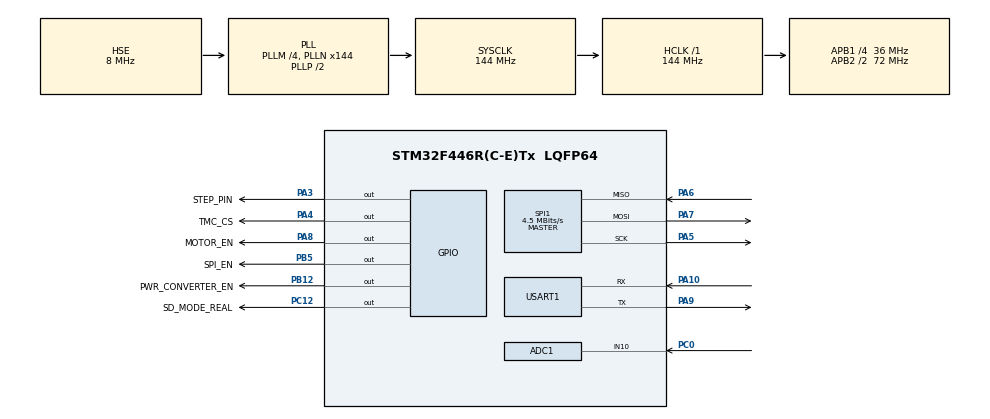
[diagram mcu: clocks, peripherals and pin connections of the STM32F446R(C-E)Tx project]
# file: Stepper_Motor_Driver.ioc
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ADC1.Channel-1\#ChannelRegularConversion=ADC_CHANNEL_10
ADC1.ClockPrescaler=ADC_CLOCK_SYNC_PCLK_DIV4
ADC1.NbrOfConversionFlag=1
ADC1.Rank-1\#ChannelRegularConversion=1
ADC1.SamplingTime-1\#ChannelRegularConversion=ADC_SAMPLETIME_56CYCLES
ADC1.master=1
Dma.Request0=SPI1_RX
Dma.Request1=SPI1_TX
Dma.SPI1_RX.0.Direction=DMA_PERIPH_TO_MEMORY
Dma.SPI1_RX.0.FIFOMode=DMA_FIFOMODE_DISABLE
Dma.SPI1_RX.0.Instance=DMA2_Stream0
Dma.SPI1_RX.0.MemDataAlignment=DMA_MDATAALIGN_BYTE
Dma.SPI1_RX.0.MemInc=DMA_MINC_ENABLE
Dma.SPI1_RX.0.Mode=DMA_NORMAL
Dma.SPI1_RX.0.PeriphDataAlignment=DMA_PDATAALIGN_BYTE
Dma.SPI1_RX.0.PeriphInc=DMA_PINC_DISABLE
Dma.SPI1_RX.0.Priority=DMA_PRIORITY_LOW
Dma.SPI1_TX.1.Direction=DMA_MEMORY_TO_PERIPH
Dma.SPI1_TX.1.FIFOMode=DMA_FIFOMODE_DISABLE
Dma.SPI1_TX.1.Instance=DMA2_Stream3
Dma.SPI1_TX.1.MemDataAlignment=DMA_MDATAALIGN_BYTE
Dma.SPI1_TX.1.MemInc=DMA_MINC_ENABLE
Dma.SPI1_TX.1.Mode=DMA_NORMAL
Dma.SPI1_TX.1.PeriphDataAlignment=DMA_PDATAALIGN_BYTE
Dma.SPI1_TX.1.PeriphInc=DMA_PINC_DISABLE
Dma.SPI1_TX.1.Priority=DMA_PRIORITY_LOW
FREERTOS.Tasks01=defaultTask,24,128,StartDefaultTask,Default,NULL,Dynamic,NULL,NULL
FREERTOS.configTOTAL_HEAP_SIZE=20480
FREERTOS.configUSE_NEWLIB_REENTRANT=1
Mcu.Family=STM32F4
Mcu.Name=STM32F446R(C-E)Tx
Mcu.Package=LQFP64
NVIC.DMA2_Stream0_IRQn=true\:5\:0\:false\:false\:true\:true\:false\:true\:true
NVIC.DMA2_Stream3_IRQn=true\:5\:0\:false\:false\:true\:true\:false\:true\:true
NVIC.PriorityGroup=NVIC_PRIORITYGROUP_4
NVIC.SPI1_IRQn=true\:5\:0\:false\:false\:true\:true\:true\:true\:true
NVIC.TIM6_DAC_IRQn=true\:15\:0\:false\:false\:true\:false\:false\:true\:true
NVIC.TimeBase=TIM6_DAC_IRQn
NVIC.TimeBaseIP=TIM6
PA10.Mode=Asynchronous
PA10.Signal=USART1_RX
PA3.GPIO_Label=STEP_PIN
PA3.Signal=GPIO_Output
PA4.GPIO_Label=TMC_CS
PA4.PinState=GPIO_PIN_SET
PA4.Signal=GPIO_Output
PA5.Mode=Full_Duplex_Master
PA5.Signal=SPI1_SCK
PA6.Mode=Full_Duplex_Master
PA6.Signal=SPI1_MISO
PA7.Mode=Full_Duplex_Master
PA7.Signal=SPI1_MOSI
PA8.GPIO_Label=MOTOR_EN
PA8.PinState=GPIO_PIN_SET
PA8.Signal=GPIO_Output
PA9.Mode=Asynchronous
PA9.Signal=USART1_TX
PB12.GPIO_Label=PWR_CONVERTER_EN
PB12.Signal=GPIO_Output
PB5.GPIO_Label=SPI_EN
PB5.PinState=GPIO_PIN_SET
PB5.Signal=GPIO_Output
PC0.Signal=ADCx_IN10
PC12.GPIO_Label=SD_MODE_REAL
PC12.Signal=GPIO_Output
PH0-OSC_IN.Mode=HSE-External-Oscillator
PH0-OSC_IN.Signal=RCC_OSC_IN
PH1-OSC_OUT.Mode=HSE-External-Oscillator
PH1-OSC_OUT.Signal=RCC_OSC_OUT
ProjectManager.HeapSize=0x200
ProjectManager.StackSize=0x400
ProjectManager.TargetToolchain=STM32CubeIDE
RCC.AHBFreq_Value=144000000
RCC.APB1CLKDivider=RCC_HCLK_DIV4
RCC.APB1Freq_Value=36000000
RCC.APB1TimFreq_Value=72000000
RCC.APB2CLKDivider=RCC_HCLK_DIV2
RCC.APB2Freq_Value=72000000
RCC.APB2TimFreq_Value=144000000
RCC.CortexFreq_Value=144000000
RCC.HCLKFreq_Value=144000000
RCC.HSE_VALUE=8000000
RCC.PLLM=4
RCC.PLLN=144
RCC.PLLSourceVirtual=RCC_PLLSOURCE_HSE
RCC.SYSCLKFreq_VALUE=144000000
RCC.SYSCLKSource=RCC_SYSCLKSOURCE_PLLCLK
RCC.USBFreq_Value=144000000
RCC.VCOOutputFreq_Value=288000000
SH.ADCx_IN10.0=ADC1_IN10,IN10
SPI1.BaudRatePrescaler=SPI_BAUDRATEPRESCALER_16
SPI1.CLKPhase=SPI_PHASE_2EDGE
SPI1.CLKPolarity=SPI_POLARITY_HIGH
SPI1.CalculateBaudRate=4.5 MBits/s
SPI1.Direction=SPI_DIRECTION_2LINES
SPI1.Mode=SPI_MODE_MASTER
SPI1.VirtualType=VM_MASTER
USART1.VirtualMode=VM_ASYNC
VP_FREERTOS_VS_CMSIS_V2.Mode=CMSIS_V2
VP_SYS_VS_tim6.Mode=TIM6
board=custom

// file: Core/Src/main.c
/* USER CODE BEGIN Header */
/**
  ******************************************************************************
  * @file           : main.c
  * @brief          : Main program body
  ******************************************************************************
  * @attention
  *
  * Copyright (c) 2026 STMicroelectronics.
  * All rights reserved.
  *
  * This software is licensed under terms that can be found in the LICENSE file
  * in the root directory of this software component.
  * If no LICENSE file comes with this software, it is provided AS-IS.
  *
  ******************************************************************************
  */
/* USER CODE END Header */
#include "main.h"
#include "cmsis_os.h"

/* USER CODE BEGIN Includes */
#include "tmc5160.h"
#include <stdio.h>
/* USER CODE END Includes */

ADC_HandleTypeDef hadc1;

SPI_HandleTypeDef hspi1;
DMA_HandleTypeDef hdma_spi1_rx;
DMA_HandleTypeDef hdma_spi1_tx;

UART_HandleTypeDef huart1;

/* Definitions for defaultTask */
osThreadId_t defaultTaskHandle;
const osThreadAttr_t defaultTask_attributes = {
  .name = "defaultTask",
  .stack_size = 128 * 4,
  .priority = (osPriority_t) osPriorityNormal,
};

void SystemClock_Config(void);
static void MX_GPIO_Init(void);
static void MX_DMA_Init(void);
static void MX_SPI1_Init(void);
static void MX_ADC1_Init(void);
static void MX_USART1_UART_Init(void);
void StartDefaultTask(void *argument);

/* USER CODE BEGIN 0 */
int _write(int file, char *ptr, int len) {
    HAL_UART_Transmit(&huart1, (uint8_t*)ptr, len, HAL_MAX_DELAY);
    return len;
}

/* USER CODE END 0 */

int main(void)
{

  /* MCU Configuration--------------------------------------------------------*/

  /* Reset of all peripherals, Initializes the Flash interface and the Systick. */
  HAL_Init();

  /* Configure the system clock */
  SystemClock_Config();

  /* Initialize all configured peripherals */
  MX_GPIO_Init();
  MX_DMA_Init();
  MX_SPI1_Init();
  MX_ADC1_Init();
  MX_USART1_UART_Init();
  /* USER CODE BEGIN 2 */

    TMC5160_t motor;
    motor.spi_instance = SPI1;
    motor.cs_port = GPIOA;
    motor.cs_pin = TMC_CS_Pin;
    motor.state = TMC_STATE_UNINITIALIZED;

    float real_voltage = 0.0f;

    printf("[LOGIC] Oczekiwanie na 800mV...\r\n");

    while(real_voltage <= 0.8f) {
      HAL_ADC_Start(&hadc1);
      if(HAL_ADC_PollForConversion(&hadc1, 10) == HAL_OK) {
          uint32_t adc_raw = HAL_ADC_GetValue(&hadc1);
          real_voltage = (((float)adc_raw * 3.3f) / 4095.0f) * 4.03f;
          printf("napiecie: %.2f", real_voltage);
      }
      osDelay(100);

  }
    printf("napiencie zeszlo");
  // 2. Odpalenie zasilania i sterownika
  HAL_GPIO_WritePin(GPIOB, PWR_CONVERTER_EN_Pin, GPIO_PIN_SET);
  osDelay(2000);
  HAL_GPIO_WritePin(GPIOA, MOTOR_EN_Pin, GPIO_PIN_RESET); // Włącznik silnika (Active Low)
  osDelay(500);

  TMC5160_Config_t my_config = {
      .run_current = 31,     // Maksymalny prąd
      .hold_current = 10,
      .acceleration = 500,
      .max_velocity = 200000
  };
  TMC5160_Init(&motor, &my_config);

  // 4. Ruszamy! (np. 10 obrotów do

  TMC5160_Write(&motor, REG_XTARGET, 512000);

  /* USER CODE END 2 */

  /* Init scheduler */
  osKernelInitialize();

  /* Create the thread(s) */
  /* creation of defaultTask */
  defaultTaskHandle = osThreadNew(StartDefaultTask, NULL, &defaultTask_attributes);

  /* Start scheduler */
  osKernelStart();

  /* We should never get here as control is now taken by the scheduler */

  /* Infinite loop */
  while (1)
  {

  }
}

void SystemClock_Config(void)
{
  RCC_OscInitTypeDef RCC_OscInitStruct = {0};
  RCC_ClkInitTypeDef RCC_ClkInitStruct = {0};

  /** Configure the main internal regulator output voltage
  */
  __HAL_RCC_PWR_CLK_ENABLE();
  __HAL_PWR_VOLTAGESCALING_CONFIG(PWR_REGULATOR_VOLTAGE_SCALE1);

  /** Initializes the RCC Oscillators according to the specified parameters
  * in the RCC_OscInitTypeDef structure.
  */
  RCC_OscInitStruct.OscillatorType = RCC_OSCILLATORTYPE_HSE;
  RCC_OscInitStruct.HSEState = RCC_HSE_ON;
  RCC_OscInitStruct.PLL.PLLState = RCC_PLL_ON;
  RCC_OscInitStruct.PLL.PLLSource = RCC_PLLSOURCE_HSE;
  RCC_OscInitStruct.PLL.PLLM = 4;
  RCC_OscInitStruct.PLL.PLLN = 144;
  RCC_OscInitStruct.PLL.PLLP = RCC_PLLP_DIV2;
  RCC_OscInitStruct.PLL.PLLQ = 2;
  RCC_OscInitStruct.PLL.PLLR = 2;
  if (HAL_RCC_OscConfig(&RCC_OscInitStruct) != HAL_OK)
  {
    Error_Handler();
  }

  /** Initializes the CPU, AHB and APB buses clocks
  */
  RCC_ClkInitStruct.ClockType = RCC_CLOCKTYPE_HCLK|RCC_CLOCKTYPE_SYSCLK
                              |RCC_CLOCKTYPE_PCLK1|RCC_CLOCKTYPE_PCLK2;
  RCC_ClkInitStruct.SYSCLKSource = RCC_SYSCLKSOURCE_PLLCLK;
  RCC_ClkInitStruct.AHBCLKDivider = RCC_SYSCLK_DIV1;
  RCC_ClkInitStruct.APB1CLKDivider = RCC_HCLK_DIV4;
  RCC_ClkInitStruct.APB2CLKDivider = RCC_HCLK_DIV2;

  if (HAL_RCC_ClockConfig(&RCC_ClkInitStruct, FLASH_LATENCY_4) != HAL_OK)
  {
    Error_Handler();
  }
}

static void MX_ADC1_Init(void)
{

  ADC_ChannelConfTypeDef sConfig = {0};

  /** Configure the global features of the ADC (Clock, Resolution, Data Alignment and number of conversion)
  */
  hadc1.Instance = ADC1;
  hadc1.Init.ClockPrescaler = ADC_CLOCK_SYNC_PCLK_DIV4;
  hadc1.Init.Resolution = ADC_RESOLUTION_12B;
  hadc1.Init.ScanConvMode = DISABLE;
  hadc1.Init.ContinuousConvMode = DISABLE;
  hadc1.Init.DiscontinuousConvMode = DISABLE;
  hadc1.Init.ExternalTrigConvEdge = ADC_EXTERNALTRIGCONVEDGE_NONE;
  hadc1.Init.ExternalTrigConv = ADC_SOFTWARE_START;
  hadc1.Init.DataAlign = ADC_DATAALIGN_RIGHT;
  hadc1.Init.NbrOfConversion = 1;
  hadc1.Init.DMAContinuousRequests = DISABLE;
  hadc1.Init.EOCSelection = ADC_EOC_SINGLE_CONV;
  if (HAL_ADC_Init(&hadc1) != HAL_OK)
  {
    Error_Handler();
  }

  /** Configure for the selected ADC regular channel its corresponding rank in the sequencer and its sample time.
  */
  sConfig.Channel = ADC_CHANNEL_10;
  sConfig.Rank = 1;
  sConfig.SamplingTime = ADC_SAMPLETIME_56CYCLES;
  if (HAL_ADC_ConfigChannel(&hadc1, &sConfig) != HAL_OK)
  {
    Error_Handler();
  }

}

static void MX_SPI1_Init(void)
{

  /* SPI1 parameter configuration*/
  hspi1.Instance = SPI1;
  hspi1.Init.Mode = SPI_MODE_MASTER;
  hspi1.Init.Direction = SPI_DIRECTION_2LINES;
  hspi1.Init.DataSize = SPI_DATASIZE_8BIT;
  hspi1.Init.CLKPolarity = SPI_POLARITY_HIGH;
  hspi1.Init.CLKPhase = SPI_PHASE_2EDGE;
  hspi1.Init.NSS = SPI_NSS_SOFT;
  hspi1.Init.BaudRatePrescaler = SPI_BAUDRATEPRESCALER_16;
  hspi1.Init.FirstBit = SPI_FIRSTBIT_MSB;
  hspi1.Init.TIMode = SPI_TIMODE_DISABLE;
  hspi1.Init.CRCCalculation = SPI_CRCCALCULATION_DISABLE;
  hspi1.Init.CRCPolynomial = 10;
  if (HAL_SPI_Init(&hspi1) != HAL_OK)
  {
    Error_Handler();
  }

}

static void MX_USART1_UART_Init(void)
{

  huart1.Instance = USART1;
  huart1.Init.BaudRate = 115200;
  huart1.Init.WordLength = UART_WORDLENGTH_8B;
  huart1.Init.StopBits = UART_STOPBITS_1;
  huart1.Init.Parity = UART_PARITY_NONE;
  huart1.Init.Mode = UART_MODE_TX_RX;
  huart1.Init.HwFlowCtl = UART_HWCONTROL_NONE;
  huart1.Init.OverSampling = UART_OVERSAMPLING_16;
  if (HAL_UART_Init(&huart1) != HAL_OK)
  {
    Error_Handler();
  }

}

static void MX_DMA_Init(void)
{

  /* DMA controller clock enable */
  __HAL_RCC_DMA2_CLK_ENABLE();

  /* DMA interrupt init */
  /* DMA2_Stream0_IRQn interrupt configuration */
  HAL_NVIC_SetPriority(DMA2_Stream0_IRQn, 5, 0);
  HAL_NVIC_EnableIRQ(DMA2_Stream0_IRQn);
  /* DMA2_Stream3_IRQn interrupt configuration */
  HAL_NVIC_SetPriority(DMA2_Stream3_IRQn, 5, 0);
  HAL_NVIC_EnableIRQ(DMA2_Stream3_IRQn);

}

static void MX_GPIO_Init(void)
{
  GPIO_InitTypeDef GPIO_InitStruct = {0};

  /* GPIO Ports Clock Enable */
  __HAL_RCC_GPIOH_CLK_ENABLE();
  __HAL_RCC_GPIOC_CLK_ENABLE();
  __HAL_RCC_GPIOA_CLK_ENABLE();
  __HAL_RCC_GPIOB_CLK_ENABLE();

  /*Configure GPIO pin Output Level */
  HAL_GPIO_WritePin(STEP_PIN_GPIO_Port, STEP_PIN_Pin, GPIO_PIN_RESET);

  /*Configure GPIO pin Output Level */
  HAL_GPIO_WritePin(GPIOA, TMC_CS_Pin|MOTOR_EN_Pin, GPIO_PIN_SET);

  /*Configure GPIO pin Output Level */
  HAL_GPIO_WritePin(PWR_CONVERTER_EN_GPIO_Port, PWR_CONVERTER_EN_Pin, GPIO_PIN_RESET);

  /*Configure GPIO pin Output Level */
  HAL_GPIO_WritePin(SD_MODE_REAL_GPIO_Port, SD_MODE_REAL_Pin, GPIO_PIN_RESET);

  /*Configure GPIO pin Output Level */
  HAL_GPIO_WritePin(SPI_EN_GPIO_Port, SPI_EN_Pin, GPIO_PIN_SET);

  /*Configure GPIO pins : STEP_PIN_Pin TMC_CS_Pin MOTOR_EN_Pin */
  GPIO_InitStruct.Pin = STEP_PIN_Pin|TMC_CS_Pin|MOTOR_EN_Pin;
  GPIO_InitStruct.Mode = GPIO_MODE_OUTPUT_PP;
  GPIO_InitStruct.Pull = GPIO_NOPULL;
  GPIO_InitStruct.Speed = GPIO_SPEED_FREQ_LOW;
  HAL_GPIO_Init(GPIOA, &GPIO_InitStruct);

  /*Configure GPIO pins : PWR_CONVERTER_EN_Pin SPI_EN_Pin */
  GPIO_InitStruct.Pin = PWR_CONVERTER_EN_Pin|SPI_EN_Pin;
  GPIO_InitStruct.Mode = GPIO_MODE_OUTPUT_PP;
  GPIO_InitStruct.Pull = GPIO_NOPULL;
  GPIO_InitStruct.Speed = GPIO_SPEED_FREQ_LOW;
  HAL_GPIO_Init(GPIOB, &GPIO_InitStruct);

  /*Configure GPIO pin : SD_MODE_REAL_Pin */
  GPIO_InitStruct.Pin = SD_MODE_REAL_Pin;
  GPIO_InitStruct.Mode = GPIO_MODE_OUTPUT_PP;
  GPIO_InitStruct.Pull = GPIO_NOPULL;
  GPIO_InitStruct.Speed = GPIO_SPEED_FREQ_LOW;
  HAL_GPIO_Init(SD_MODE_REAL_GPIO_Port, &GPIO_InitStruct);

}

void StartDefaultTask(void *argument)
{
  for(;;)
  {
    osDelay(1);
  }
}

void HAL_TIM_PeriodElapsedCallback(TIM_HandleTypeDef *htim)
{
  if (htim->Instance == TIM6)
  {
    HAL_IncTick();
  }
}

void Error_Handler(void)
{
  __disable_irq();
  while (1)
  {
  }
}
